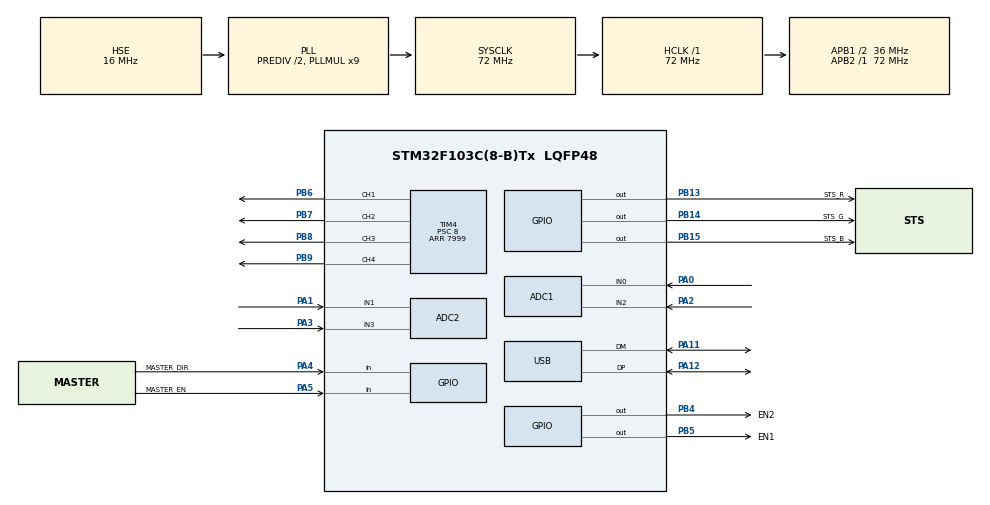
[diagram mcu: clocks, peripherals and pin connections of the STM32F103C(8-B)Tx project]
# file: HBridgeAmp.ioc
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ADC1.Channel-1\#ChannelRegularConversion=ADC_CHANNEL_0
ADC1.Channel-2\#ChannelRegularConversion=ADC_CHANNEL_2
ADC1.DiscontinuousConvMode=ENABLE
ADC1.NbrOfConversion=2
ADC1.NbrOfConversionFlag=1
ADC1.Rank-1\#ChannelRegularConversion=1
ADC1.Rank-2\#ChannelRegularConversion=2
ADC1.SamplingTime-1\#ChannelRegularConversion=ADC_SAMPLETIME_1CYCLE_5
ADC1.SamplingTime-2\#ChannelRegularConversion=ADC_SAMPLETIME_1CYCLE_5
ADC1.master=1
ADC2.Channel-0\#ChannelRegularConversion=ADC_CHANNEL_1
ADC2.Channel-1\#ChannelRegularConversion=ADC_CHANNEL_3
ADC2.DiscontinuousConvMode=ENABLE
ADC2.NbrOfConversion=2
ADC2.NbrOfConversionFlag=1
ADC2.Rank-0\#ChannelRegularConversion=1
ADC2.Rank-1\#ChannelRegularConversion=2
ADC2.SamplingTime-0\#ChannelRegularConversion=ADC_SAMPLETIME_1CYCLE_5
ADC2.SamplingTime-1\#ChannelRegularConversion=ADC_SAMPLETIME_1CYCLE_5
Mcu.Family=STM32F1
Mcu.Name=STM32F103C(8-B)Tx
Mcu.Package=LQFP48
NVIC.PriorityGroup=NVIC_PRIORITYGROUP_4
NVIC.USB_LP_CAN1_RX0_IRQn=true\:0\:0\:false\:false\:true\:false\:true
PA0-WKUP.Signal=ADCx_IN0
PA1.Signal=ADCx_IN1
PA11.Mode=Device
PA11.Signal=USB_DM
PA12.Mode=Device
PA12.Signal=USB_DP
PA13.Mode=Serial_Wire
PA13.Signal=SYS_JTMS-SWDIO
PA14.Mode=Serial_Wire
PA14.Signal=SYS_JTCK-SWCLK
PA2.Signal=ADCx_IN2
PA3.Signal=ADCx_IN3
PA4.GPIO_Label=MASTER_DIR
PA4.Signal=GPIO_Input
PA5.GPIO_Label=MASTER_EN
PA5.Signal=GPIO_Input
PB13.GPIO_Label=STS_R
PB13.Signal=GPIO_Output
PB14.GPIO_Label=STS_G
PB14.Signal=GPIO_Output
PB15.GPIO_Label=STS_B
PB15.Signal=GPIO_Output
PB4.GPIO_Label=EN2
PB4.Signal=GPIO_Output
PB5.GPIO_Label=EN1
PB5.Signal=GPIO_Output
PB6.Signal=S_TIM4_CH1
PB7.Signal=S_TIM4_CH2
PB8.Signal=S_TIM4_CH3
PB9.Signal=S_TIM4_CH4
PD0-OSC_IN.Mode=HSE-External-Oscillator
PD0-OSC_IN.Signal=RCC_OSC_IN
PD1-OSC_OUT.Mode=HSE-External-Oscillator
PD1-OSC_OUT.Signal=RCC_OSC_OUT
ProjectManager.HeapSize=0x200
ProjectManager.StackSize=0x400
ProjectManager.TargetToolchain=STM32CubeIDE
RCC.ADCPresc=RCC_ADCPCLK2_DIV6
RCC.AHBFreq_Value=72000000
RCC.APB1CLKDivider=RCC_HCLK_DIV2
RCC.APB1Freq_Value=36000000
RCC.APB1TimFreq_Value=72000000
RCC.APB2Freq_Value=72000000
RCC.APB2TimFreq_Value=72000000
RCC.HCLKFreq_Value=72000000
RCC.HSEDivPLL=RCC_HSE_PREDIV_DIV2
RCC.HSE_VALUE=16000000
RCC.PLLMUL=RCC_PLL_MUL9
RCC.SYSCLKFreq_VALUE=72000000
RCC.SYSCLKSource=RCC_SYSCLKSOURCE_PLLCLK
RCC.USBFreq_Value=48000000
RCC.USBPrescaler=RCC_USBCLKSOURCE_PLL_DIV1_5
SH.ADCx_IN0.0=ADC1_IN0,IN0
SH.ADCx_IN1.0=ADC2_IN1,IN1
SH.ADCx_IN2.0=ADC1_IN2,IN2
SH.ADCx_IN3.0=ADC2_IN3,IN3
SH.S_TIM4_CH1.0=TIM4_CH1,PWM Generation1 CH1
SH.S_TIM4_CH2.0=TIM4_CH2,PWM Generation2 CH2
SH.S_TIM4_CH3.0=TIM4_CH3,PWM Generation3 CH3
SH.S_TIM4_CH4.0=TIM4_CH4,PWM Generation4 CH4
TIM4.Channel-PWM\ Generation1\ CH1=TIM_CHANNEL_1
TIM4.Channel-PWM\ Generation2\ CH2=TIM_CHANNEL_2
TIM4.Channel-PWM\ Generation3\ CH3=TIM_CHANNEL_3
TIM4.Channel-PWM\ Generation4\ CH4=TIM_CHANNEL_4
TIM4.Period=7999
TIM4.Prescaler=8
TIM4.Pulse-PWM\ Generation3\ CH3=0
TIM4.Pulse-PWM\ Generation4\ CH4=0
USB_DEVICE.CLASS_NAME_FS=CDC
USB_DEVICE.MANUFACTURER_STRING=CNC Automation
USB_DEVICE.PRODUCT_STRING_CDC_FS=2CH Valve Amplifier
USB_DEVICE.VirtualMode=Cdc
USB_DEVICE.VirtualModeFS=Cdc_FS
VP_TIM4_VS_ClockSourceINT.Mode=Internal
VP_USB_DEVICE_VS_USB_DEVICE_CDC_FS.Mode=CDC_FS
board=custom

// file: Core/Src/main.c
/* USER CODE BEGIN Header */
/**
 ******************************************************************************
 * @file           : main.c
 * @brief          : Main program body
 ******************************************************************************
 * @attention
 *
 * <h2><center>&copy; Copyright (c) 2021 STMicroelectronics.
 * All rights reserved.</center></h2>
 *
 * This software component is licensed by ST under BSD 3-Clause license,
 * the "License"; You may not use this file except in compliance with the
 * License. You may obtain a copy of the License at:
 *                        opensource.org/licenses/BSD-3-Clause
 *
 ******************************************************************************
 */
/* USER CODE END Header */
#include "main.h"
#include "usb_device.h"

/* USER CODE BEGIN Includes */
#include "usbd_cdc_if.h"
#include "string.h"
#include "pid_controller.h"
/* USER CODE END Includes */

/* USER CODE BEGIN PD */
#define AVERAGE_LENGTH 5
/* USER CODE END PD */

ADC_HandleTypeDef hadc1;
ADC_HandleTypeDef hadc2;

TIM_HandleTypeDef htim4;

/* USER CODE BEGIN PV */
uint32_t currentMillis;
uint32_t previousMillis = 0;
uint32_t PIDInterval = 20;

extern USBD_HandleTypeDef hUsbDeviceFS;
uint8_t dataRxToggle;
uint8_t userSerialRXBuffer[APP_RX_DATA_SIZE];
uint8_t dataRxFlag = 0;

uint16_t ADC_Value[4] = { 0 };

uint16_t setPoint1MovingAverage[AVERAGE_LENGTH] = { 0 };
uint16_t feedback1MovingAverage[AVERAGE_LENGTH] = { 0 };
uint16_t setPoint2MovingAverage[AVERAGE_LENGTH] = { 0 };
uint16_t feedback2MovingAverage[AVERAGE_LENGTH] = { 0 };
uint8_t setPoint1Pos = 0;
uint8_t setPoint2Pos = 0;
uint8_t feedback1Pos = 0;
uint8_t feedback2Pos = 0;
uint32_t setPoint1Sum = 0;
uint32_t setPoint2Sum = 0;
uint32_t feedback1Sum = 0;
uint32_t feedback2Sum = 0;
uint16_t setPoint1Avg = 0;
uint16_t setPoint2Avg = 0;
uint16_t feedback1Avg = 0;
uint16_t feedback2Avg = 0;
int setPoint1Map = 0;
int setPoint2Map = 0;
int feedback1Map = 0;
int feedback2Map = 0;

float kP1 = 0.001;
float kI1 = 0;
float kD1 = 0;

float kP2 = 0.001;
float kI2 = 0;
float kD2 = 0;

float percentage = 0;
uint8_t displayToggle = 0;

float PID1_out;
float PID2_out;

PIDControl PID1;
PIDControl PID2;

/* USER CODE END PV */

void SystemClock_Config(void);
static void MX_GPIO_Init(void);
static void MX_TIM4_Init(void);
static void MX_ADC1_Init(void);
static void MX_ADC2_Init(void);
/* USER CODE BEGIN PFP */
uint16_t user_get_adc1(void);
uint16_t user_get_adc2(void);
uint16_t movingAvg(uint16_t *ptrArrNumbers, uint32_t *ptrSum, uint8_t *pos,
		uint8_t len, uint16_t nextNum);
int user_MAP(int x, int in_min, int in_max, int out_min, int out_max);
void processRx(PIDControl *pid1, PIDControl *pid2);
/* USER CODE END PFP */

int main(void)
{

  /* MCU Configuration--------------------------------------------------------*/

  /* Reset of all peripherals, Initializes the Flash interface and the Systick. */
  HAL_Init();

  /* Configure the system clock */
  SystemClock_Config();

  /* Initialize all configured peripherals */
  MX_GPIO_Init();
  MX_TIM4_Init();
  MX_ADC1_Init();
  MX_USB_DEVICE_Init();
  MX_ADC2_Init();
  /* USER CODE BEGIN 2 */
	PIDInit(&PID1, kP1, kI1, kD1, 0.020, -8000, 8000, AUTOMATIC, DIRECT);
	PIDInit(&PID2, kP2, kI2, kD2, 0.020, -8000, 8000, AUTOMATIC, DIRECT);
	HAL_TIM_PWM_Start(&htim4, TIM_CHANNEL_1);
	HAL_TIM_PWM_Start(&htim4, TIM_CHANNEL_2);
	HAL_TIM_PWM_Start(&htim4, TIM_CHANNEL_3);
	HAL_TIM_PWM_Start(&htim4, TIM_CHANNEL_4);

  /* USER CODE END 2 */

  /* Infinite loop */
  /* USER CODE BEGIN WHILE */
	while (1) {
		currentMillis = HAL_GetTick();
		if (currentMillis - previousMillis >= PIDInterval) { //start timed event
			previousMillis = currentMillis;

			// Get ADC value
			for (uint8_t i = 0; i < 2; i++) {
				//Store ADC values of channel 1, 2 and 3 respectively
				ADC_Value[i] = user_get_adc1();
			}
			for (uint8_t i = 2; i < 4; i++) {
				//Store ADC values of channel 1, 2 and 3 respectively
				ADC_Value[i] = user_get_adc2();
			}

			setPoint1Map = user_MAP(movingAvg(setPoint1MovingAverage, &setPoint1Sum,
					&setPoint1Pos, AVERAGE_LENGTH, ADC_Value[0]), 0, 2800, -7000, 7000);
			feedback1Map = user_MAP(movingAvg(feedback1MovingAverage, &feedback1Sum,
								&feedback1Pos, AVERAGE_LENGTH, ADC_Value[1]), 700, 1900, -8000, 8000);

			setPoint2Map = user_MAP(movingAvg(setPoint2MovingAverage, &setPoint2Sum,
								&setPoint2Pos, AVERAGE_LENGTH, ADC_Value[2]), 0, 2800, -7000, 7000);
			feedback2Map = user_MAP(movingAvg(feedback2MovingAverage, &feedback2Sum,
								&feedback2Pos, AVERAGE_LENGTH, ADC_Value[3]), 700, 1900, -8000, 8000);

			//setPoint2Map = setPoint1Map;

			PIDSetpointSet(&PID1, setPoint1Map);
			PIDInputSet(&PID1, feedback1Map);

			PIDSetpointSet(&PID2, setPoint2Map);
			PIDInputSet(&PID2, feedback2Map);

			if(!HAL_GPIO_ReadPin(MASTER_EN_GPIO_Port, MASTER_EN_Pin)){

				PIDModeSet(&PID1, AUTOMATIC);
				PIDModeSet(&PID2, AUTOMATIC);

				PIDCompute(&PID1);
				PIDCompute(&PID2);

				PID1_out = (PIDOutputGet(&PID1) * percentage);
				PID2_out = (PIDOutputGet(&PID2) * percentage);

				HAL_GPIO_WritePin (GPIOB, EN2_Pin, 1);
				HAL_GPIO_WritePin (GPIOB, EN1_Pin, 1);
			}else {

				PIDModeSet(&PID1, MANUAL);
				PIDModeSet(&PID2, MANUAL);

				PIDCompute(&PID1);
				PIDCompute(&PID2);

				PID1_out = 0;
				PID2_out = 0;

				HAL_GPIO_WritePin (GPIOB, EN2_Pin, 0);
				HAL_GPIO_WritePin (GPIOB, EN1_Pin, 0);
			}

			if (PID1_out >= 0) {
				__HAL_TIM_SET_COMPARE(&htim4, TIM_CHANNEL_3, PID1_out);
				__HAL_TIM_SET_COMPARE(&htim4, TIM_CHANNEL_4, 0);
			      }
			else if (PID1_out < 0) {
			        __HAL_TIM_SET_COMPARE(&htim4, TIM_CHANNEL_3, 0);
			        __HAL_TIM_SET_COMPARE(&htim4, TIM_CHANNEL_4, abs(PID1_out));
		    }
			if (PID2_out >= 0) {
				__HAL_TIM_SET_COMPARE(&htim4, TIM_CHANNEL_1, PID2_out);
				__HAL_TIM_SET_COMPARE(&htim4, TIM_CHANNEL_2, 0);
			      }
			else if (PID2_out < 0) {
			        __HAL_TIM_SET_COMPARE(&htim4, TIM_CHANNEL_1, 0);
			        __HAL_TIM_SET_COMPARE(&htim4, TIM_CHANNEL_2, abs(PID2_out));
		    }

			char buffer[40];
			if(displayToggle == 1){
				sprintf(buffer, "%d , %d , %d , %d\r\n", setPoint2Map, feedback2Map, (int)PID2_out, (displayToggle<<7));
			}else{
				sprintf(buffer, "%d , %d , %d , %d\r\n", setPoint1Map, feedback1Map, (int)PID1_out, displayToggle);
			}
			CDC_Transmit_FS((uint8_t*) buffer, strlen(buffer));
			//USBD_CDC_SetRxBuffer(&hUsbDeviceFS, serialRXBuffer);
			//CDC_Transmit_FS(userSerialRXBuffer, strlen(userSerialRXBuffer));
			processRx(&PID1, &PID2);

		}
    /* USER CODE END WHILE */

	}
}

void SystemClock_Config(void)
{
  RCC_OscInitTypeDef RCC_OscInitStruct = {0};
  RCC_ClkInitTypeDef RCC_ClkInitStruct = {0};
  RCC_PeriphCLKInitTypeDef PeriphClkInit = {0};

  /** Initializes the RCC Oscillators according to the specified parameters
  * in the RCC_OscInitTypeDef structure.
  */
  RCC_OscInitStruct.OscillatorType = RCC_OSCILLATORTYPE_HSE;
  RCC_OscInitStruct.HSEState = RCC_HSE_ON;
  RCC_OscInitStruct.HSEPredivValue = RCC_HSE_PREDIV_DIV2;
  RCC_OscInitStruct.HSIState = RCC_HSI_ON;
  RCC_OscInitStruct.PLL.PLLState = RCC_PLL_ON;
  RCC_OscInitStruct.PLL.PLLSource = RCC_PLLSOURCE_HSE;
  RCC_OscInitStruct.PLL.PLLMUL = RCC_PLL_MUL9;
  if (HAL_RCC_OscConfig(&RCC_OscInitStruct) != HAL_OK)
  {
    Error_Handler();
  }
  /** Initializes the CPU, AHB and APB buses clocks
  */
  RCC_ClkInitStruct.ClockType = RCC_CLOCKTYPE_HCLK|RCC_CLOCKTYPE_SYSCLK
                              |RCC_CLOCKTYPE_PCLK1|RCC_CLOCKTYPE_PCLK2;
  RCC_ClkInitStruct.SYSCLKSource = RCC_SYSCLKSOURCE_PLLCLK;
  RCC_ClkInitStruct.AHBCLKDivider = RCC_SYSCLK_DIV1;
  RCC_ClkInitStruct.APB1CLKDivider = RCC_HCLK_DIV2;
  RCC_ClkInitStruct.APB2CLKDivider = RCC_HCLK_DIV1;

  if (HAL_RCC_ClockConfig(&RCC_ClkInitStruct, FLASH_LATENCY_2) != HAL_OK)
  {
    Error_Handler();
  }
  PeriphClkInit.PeriphClockSelection = RCC_PERIPHCLK_ADC|RCC_PERIPHCLK_USB;
  PeriphClkInit.AdcClockSelection = RCC_ADCPCLK2_DIV6;
  PeriphClkInit.UsbClockSelection = RCC_USBCLKSOURCE_PLL_DIV1_5;
  if (HAL_RCCEx_PeriphCLKConfig(&PeriphClkInit) != HAL_OK)
  {
    Error_Handler();
  }
}

static void MX_ADC1_Init(void)
{

  ADC_ChannelConfTypeDef sConfig = {0};

  /** Common config
  */
  hadc1.Instance = ADC1;
  hadc1.Init.ScanConvMode = ADC_SCAN_ENABLE;
  hadc1.Init.ContinuousConvMode = DISABLE;
  hadc1.Init.DiscontinuousConvMode = ENABLE;
  hadc1.Init.NbrOfDiscConversion = 1;
  hadc1.Init.ExternalTrigConv = ADC_SOFTWARE_START;
  hadc1.Init.DataAlign = ADC_DATAALIGN_RIGHT;
  hadc1.Init.NbrOfConversion = 2;
  if (HAL_ADC_Init(&hadc1) != HAL_OK)
  {
    Error_Handler();
  }
  /** Configure Regular Channel
  */
  sConfig.Channel = ADC_CHANNEL_0;
  sConfig.Rank = ADC_REGULAR_RANK_1;
  sConfig.SamplingTime = ADC_SAMPLETIME_1CYCLE_5;
  if (HAL_ADC_ConfigChannel(&hadc1, &sConfig) != HAL_OK)
  {
    Error_Handler();
  }
  /** Configure Regular Channel
  */
  sConfig.Channel = ADC_CHANNEL_2;
  sConfig.Rank = ADC_REGULAR_RANK_2;
  if (HAL_ADC_ConfigChannel(&hadc1, &sConfig) != HAL_OK)
  {
    Error_Handler();
  }

}

static void MX_ADC2_Init(void)
{

  ADC_ChannelConfTypeDef sConfig = {0};

  /** Common config
  */
  hadc2.Instance = ADC2;
  hadc2.Init.ScanConvMode = ADC_SCAN_ENABLE;
  hadc2.Init.ContinuousConvMode = DISABLE;
  hadc2.Init.DiscontinuousConvMode = ENABLE;
  hadc2.Init.NbrOfDiscConversion = 1;
  hadc2.Init.ExternalTrigConv = ADC_SOFTWARE_START;
  hadc2.Init.DataAlign = ADC_DATAALIGN_RIGHT;
  hadc2.Init.NbrOfConversion = 2;
  if (HAL_ADC_Init(&hadc2) != HAL_OK)
  {
    Error_Handler();
  }
  /** Configure Regular Channel
  */
  sConfig.Channel = ADC_CHANNEL_1;
  sConfig.Rank = ADC_REGULAR_RANK_1;
  sConfig.SamplingTime = ADC_SAMPLETIME_1CYCLE_5;
  if (HAL_ADC_ConfigChannel(&hadc2, &sConfig) != HAL_OK)
  {
    Error_Handler();
  }
  /** Configure Regular Channel
  */
  sConfig.Channel = ADC_CHANNEL_3;
  sConfig.Rank = ADC_REGULAR_RANK_2;
  if (HAL_ADC_ConfigChannel(&hadc2, &sConfig) != HAL_OK)
  {
    Error_Handler();
  }

}

static void MX_TIM4_Init(void)
{

  TIM_ClockConfigTypeDef sClockSourceConfig = {0};
  TIM_MasterConfigTypeDef sMasterConfig = {0};
  TIM_OC_InitTypeDef sConfigOC = {0};

  htim4.Instance = TIM4;
  htim4.Init.Prescaler = 8;
  htim4.Init.CounterMode = TIM_COUNTERMODE_UP;
  htim4.Init.Period = 7999;
  htim4.Init.ClockDivision = TIM_CLOCKDIVISION_DIV1;
  htim4.Init.AutoReloadPreload = TIM_AUTORELOAD_PRELOAD_DISABLE;
  if (HAL_TIM_Base_Init(&htim4) != HAL_OK)
  {
    Error_Handler();
  }
  sClockSourceConfig.ClockSource = TIM_CLOCKSOURCE_INTERNAL;
  if (HAL_TIM_ConfigClockSource(&htim4, &sClockSourceConfig) != HAL_OK)
  {
    Error_Handler();
  }
  if (HAL_TIM_PWM_Init(&htim4) != HAL_OK)
  {
    Error_Handler();
  }
  sMasterConfig.MasterOutputTrigger = TIM_TRGO_RESET;
  sMasterConfig.MasterSlaveMode = TIM_MASTERSLAVEMODE_DISABLE;
  if (HAL_TIMEx_MasterConfigSynchronization(&htim4, &sMasterConfig) != HAL_OK)
  {
    Error_Handler();
  }
  sConfigOC.OCMode = TIM_OCMODE_PWM1;
  sConfigOC.Pulse = 0;
  sConfigOC.OCPolarity = TIM_OCPOLARITY_HIGH;
  sConfigOC.OCFastMode = TIM_OCFAST_DISABLE;
  if (HAL_TIM_PWM_ConfigChannel(&htim4, &sConfigOC, TIM_CHANNEL_1) != HAL_OK)
  {
    Error_Handler();
  }
  if (HAL_TIM_PWM_ConfigChannel(&htim4, &sConfigOC, TIM_CHANNEL_2) != HAL_OK)
  {
    Error_Handler();
  }
  if (HAL_TIM_PWM_ConfigChannel(&htim4, &sConfigOC, TIM_CHANNEL_3) != HAL_OK)
  {
    Error_Handler();
  }
  if (HAL_TIM_PWM_ConfigChannel(&htim4, &sConfigOC, TIM_CHANNEL_4) != HAL_OK)
  {
    Error_Handler();
  }
  HAL_TIM_MspPostInit(&htim4);

}

static void MX_GPIO_Init(void)
{
  GPIO_InitTypeDef GPIO_InitStruct = {0};

  /* GPIO Ports Clock Enable */
  __HAL_RCC_GPIOD_CLK_ENABLE();
  __HAL_RCC_GPIOA_CLK_ENABLE();
  __HAL_RCC_GPIOB_CLK_ENABLE();

  /*Configure GPIO pin Output Level */
  HAL_GPIO_WritePin(GPIOB, STS_R_Pin|STS_G_Pin|STS_B_Pin|EN2_Pin
                          |EN1_Pin, GPIO_PIN_RESET);

  /*Configure GPIO pins : MASTER_DIR_Pin MASTER_EN_Pin */
  GPIO_InitStruct.Pin = MASTER_DIR_Pin|MASTER_EN_Pin;
  GPIO_InitStruct.Mode = GPIO_MODE_INPUT;
  GPIO_InitStruct.Pull = GPIO_NOPULL;
  HAL_GPIO_Init(GPIOA, &GPIO_InitStruct);

  /*Configure GPIO pins : STS_R_Pin STS_G_Pin STS_B_Pin EN2_Pin
                           EN1_Pin */
  GPIO_InitStruct.Pin = STS_R_Pin|STS_G_Pin|STS_B_Pin|EN2_Pin
                          |EN1_Pin;
  GPIO_InitStruct.Mode = GPIO_MODE_OUTPUT_PP;
  GPIO_InitStruct.Pull = GPIO_NOPULL;
  GPIO_InitStruct.Speed = GPIO_SPEED_FREQ_LOW;
  HAL_GPIO_Init(GPIOB, &GPIO_InitStruct);

}

/* USER CODE BEGIN 4 */
uint16_t user_get_adc1() {
	//Turn ADC1 on
	HAL_ADC_Start(&hadc1);
	//Wait for ADC conversion to complete, the timeout is 100ms
	HAL_ADC_PollForConversion(&hadc1, 100);
	//Judge whether ADC conversion is successful
	if (HAL_IS_BIT_SET(HAL_ADC_GetState(&hadc1), HAL_ADC_STATE_REG_EOC)) {
		//Read value
		return HAL_ADC_GetValue(&hadc1);
	}
	return 0;
}
uint16_t user_get_adc2() {
	//Turn ADC1 on
	HAL_ADC_Start(&hadc2);
	//Wait for ADC conversion to complete, the timeout is 100ms
	HAL_ADC_PollForConversion(&hadc2, 100);
	//Judge whether ADC conversion is successful
	if (HAL_IS_BIT_SET(HAL_ADC_GetState(&hadc2), HAL_ADC_STATE_REG_EOC)) {
		//Read value
		return HAL_ADC_GetValue(&hadc2);
	}
	return 0;
}
uint16_t movingAvg(uint16_t *ptrArrNumbers, uint32_t *ptrSum, uint8_t *pos,
		uint8_t len, uint16_t nextNum) {

	//Subtract the oldest number from the prev sum, add the new number
	*ptrSum = *ptrSum - ptrArrNumbers[*pos] + nextNum;
	//Assign the nextNum to the position in the array
	ptrArrNumbers[*pos] = nextNum;
	//increment the position
	*pos = *pos + 1;
	if (*pos >= len) {
		*pos = 0;
	}
	//return the average
	return *ptrSum / len;
}

void processRx(PIDControl *pid1, PIDControl *pid2) {
	if (dataRxFlag != dataRxToggle) {
		float kP1, kI1, kD1;
		// Returns first token
		char *token = strtok(userSerialRXBuffer, ",");
		if(token[0] == 'L'){
			token = strtok(NULL, ",");
			kP1 = (float)atof(token);
			token = strtok(NULL, ",");
			kI1 = (float)atof(token);
			token = strtok(NULL, ",");
			kD1 = (float)atof(token);

			if(kP1 >= 0 && kD1 >= 0 && kI1 >= 0){
				PIDTuningsSet(pid1, kP1, kI1, kD1);
			}
			HAL_GPIO_TogglePin (GPIOB, STS_R_Pin);
		}else if(token[0] == 'R'){
			token = strtok(NULL, ",");
			kP1 = (float)atof(token);
			token = strtok(NULL, ",");
			kI1 = (float)atof(token);
			token = strtok(NULL, ",");
			kD1 = (float)atof(token);

			if(kP1 >= 0 && kD1 >= 0 && kI1 >= 0){
				PIDTuningsSet(pid2, kP1, kI1, kD1);
		}
			HAL_GPIO_TogglePin (GPIOB, STS_G_Pin);
		}else if(token[0] == 'G'){
			token = strtok(NULL, ",");
			percentage = (float)atof(token);
			HAL_GPIO_TogglePin (GPIOB, STS_B_Pin);
		}else if(token[0] == 'D'){
			token = strtok(NULL, ",");
			if(token[0] == 'L'){
				displayToggle = 0;
			}else if(token[0] == 'R'){
				displayToggle = 1;
			}
			HAL_GPIO_TogglePin (GPIOB, STS_B_Pin);
		}
		dataRxFlag = dataRxToggle;
	}

}
int user_MAP(int x, int in_min, int in_max, int out_min, int out_max){

	return (x - in_min) * (out_max - out_min) / (in_max - in_min) + out_min;
}
/* USER CODE END 4 */

void Error_Handler(void)
{
	__disable_irq();
	while (1) {
	}
}

/************************ (C) COPYRIGHT STMicroelectronics *****END OF FILE****/
